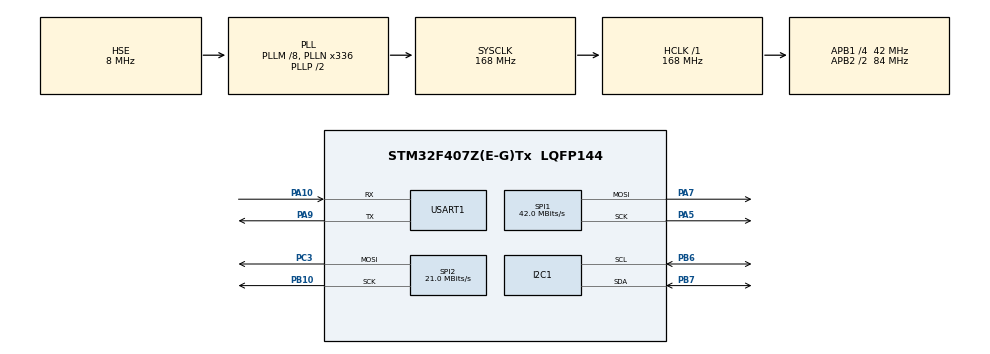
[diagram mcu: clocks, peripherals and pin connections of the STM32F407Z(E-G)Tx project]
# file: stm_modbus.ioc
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Mcu.Family=STM32F4
Mcu.Name=STM32F407Z(E-G)Tx
Mcu.Package=LQFP144
NVIC.PriorityGroup=NVIC_PRIORITYGROUP_4
NVIC.TIM1_UP_TIM10_IRQn=true\:15\:0\:false\:false\:true\:false\:true\:true
NVIC.TimeBase=TIM1_UP_TIM10_IRQn
NVIC.TimeBaseIP=TIM1
PA10.Mode=Asynchronous
PA10.Signal=USART1_RX
PA13.Mode=Serial_Wire
PA13.Signal=SYS_JTMS-SWDIO
PA14.Mode=Serial_Wire
PA14.Signal=SYS_JTCK-SWCLK
PA5.Mode=TX_Only_Simplex_Unidirect_Master
PA5.Signal=SPI1_SCK
PA7.Mode=TX_Only_Simplex_Unidirect_Master
PA7.Signal=SPI1_MOSI
PA9.Mode=Asynchronous
PA9.Signal=USART1_TX
PB10.Mode=TX_Only_Simplex_Unidirect_Master
PB10.Signal=SPI2_SCK
PB6.Mode=I2C
PB6.Signal=I2C1_SCL
PB7.Mode=I2C
PB7.Signal=I2C1_SDA
PC14-OSC32_IN.Mode=LSE-External-Oscillator
PC14-OSC32_IN.Signal=RCC_OSC32_IN
PC15-OSC32_OUT.Mode=LSE-External-Oscillator
PC15-OSC32_OUT.Signal=RCC_OSC32_OUT
PC3.Mode=TX_Only_Simplex_Unidirect_Master
PC3.Signal=SPI2_MOSI
PH0-OSC_IN.Mode=HSE-External-Oscillator
PH0-OSC_IN.Signal=RCC_OSC_IN
PH1-OSC_OUT.Mode=HSE-External-Oscillator
PH1-OSC_OUT.Signal=RCC_OSC_OUT
ProjectManager.HeapSize=0x200
ProjectManager.StackSize=0x400
ProjectManager.TargetToolchain=CMake
RCC.48MHZClocksFreq_Value=84000000
RCC.AHBFreq_Value=168000000
RCC.APB1CLKDivider=RCC_HCLK_DIV4
RCC.APB1Freq_Value=42000000
RCC.APB1TimFreq_Value=84000000
RCC.APB2CLKDivider=RCC_HCLK_DIV2
RCC.APB2Freq_Value=84000000
RCC.APB2TimFreq_Value=168000000
RCC.CortexFreq_Value=168000000
RCC.HCLKFreq_Value=168000000
RCC.HSE_VALUE=8000000
RCC.HSI_VALUE=16000000
RCC.PLLM=8
RCC.PLLN=336
RCC.PLLSourceVirtual=RCC_PLLSOURCE_HSE
RCC.RCC_RTC_Clock_Source=RCC_RTCCLKSOURCE_LSE
RCC.SYSCLKFreq_VALUE=168000000
RCC.SYSCLKSource=RCC_SYSCLKSOURCE_PLLCLK
RCC.VCOOutputFreq_Value=336000000
SPI1.BaudRatePrescaler=SPI_BAUDRATEPRESCALER_2
SPI1.CalculateBaudRate=42.0 MBits/s
SPI1.Direction=SPI_DIRECTION_2LINES
SPI1.Mode=SPI_MODE_MASTER
SPI1.VirtualType=VM_MASTER
SPI2.BaudRatePrescaler=SPI_BAUDRATEPRESCALER_2
SPI2.CalculateBaudRate=21.0 MBits/s
SPI2.Direction=SPI_DIRECTION_2LINES
SPI2.Mode=SPI_MODE_MASTER
SPI2.VirtualType=VM_MASTER
USART1.VirtualMode=VM_ASYNC
VP_RTC_VS_RTC_Activate.Mode=RTC_Enabled
VP_SYS_VS_tim1.Mode=TIM1
VP_WWDG_VS_WWDG.Mode=WWDG_Activate
board=custom

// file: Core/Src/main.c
/* USER CODE BEGIN Header */
/**
  ******************************************************************************
  * @file           : main.c
  * @brief          : Main program body
  ******************************************************************************
  * @attention
  *
  * Copyright (c) 2026 STMicroelectronics.
  * All rights reserved.
  *
  * This software is licensed under terms that can be found in the LICENSE file
  * in the root directory of this software component.
  * If no LICENSE file comes with this software, it is provided AS-IS.
  *
  ******************************************************************************
  */
/* USER CODE END Header */
#include "main.h"
#include "i2c.h"
#include "rtc.h"
#include "spi.h"
#include "usart.h"
#include "wwdg.h"
#include "gpio.h"

/* USER CODE BEGIN Includes */

#include "lvgl.h"
#include "lv_port_disp.h"
#include "ui_env_monitor.h"
#include "modbus_master.h"
#include "esp_link.h"
#include "key.h"
#include "led.h"
#include "lcd_st7789.h"

/* USER CODE END Includes */

/* USER CODE BEGIN PD */

/*
 * WWDG 这一版不能用：CubeMX 生成的是 Prescaler=DIV1 / Window=64 / Counter=64，
 * PCLK1=42MHz 时计数时钟 42e6/4096 = 10.25kHz，
 * 而 Window=64 意味着刷新窗口只有一个计数周期 —— 也就是 ~97us 内必须喂一次狗，
 * 否则立刻复位。所以下面的 MX_WWDG_Init() 被注释掉了（不初始化就不会开 WWDG 时钟，
 * 看门狗处于停用状态）。
 *
 * 想真正用起来的话：在 CubeMX 里把 WWDG 从 stm_modbus.ioc 里删掉，或者重新配成
 * Prescaler=DIV8 + 合理的 Window（约 25ms 刷新的窗口期）再在主循环里 HAL_WWDG_Refresh()。
 */
#define UI_REFRESH_MS   500U    /* 界面读数刷新的间隔 */
#define KEY_DEBOUNCE_MS 20U     /* 按键去抖：两次同电平的间隔 */

/* USER CODE END PD */

/* USER CODE BEGIN PV */

static uint32_t s_ui_tick;
static bool     s_backlight_on  = true;   /* 背光状态（初始亮） */
static uint32_t s_key_tick;               /* 上次采样 PA15 的时刻 */
static bool     s_key_last;               /* 上次采到的电平（KEY_ON=按下） */

/* USER CODE END PV */

void SystemClock_Config(void);

/* USER CODE BEGIN 0 */

/* 把 Modbus 主站收到的温湿度刷到两张大卡片上。
 * 用 lv_snprintf 而不是 libc 的 snprintf：LVGL 自带的格式化不依赖浮点 printf，
 * 而本次只用到 %d，正好避开 nano.specs 下要额外加 -u _printf_float 的麻烦。 */
static void ui_update_from_modbus(void)
{
    char tbuf[16];
    char hbuf[16];

    for (uint8_t i = 0U; i < MB_SENSOR_COUNT; i++)
    {
        const mb_sensor_t *s = Modbus_GetSensor(i);

        if ((s == NULL) || (!s->online))
        {
            ui_env_set_values(i, NULL, NULL);       /* 显示成 "--" */
            continue;
        }

        int t10 = (int)(s->temp * 10.0f + ((s->temp >= 0.0f) ? 0.5f : -0.5f));
        int h10 = (int)(s->humi * 10.0f + 0.5f);

        if (t10 < 0)
        {
            t10 = -t10;
            lv_snprintf(tbuf, sizeof tbuf, "-%d.%d", t10 / 10, t10 % 10);
        }
        else
        {
            lv_snprintf(tbuf, sizeof tbuf, "%d.%d", t10 / 10, t10 % 10);
        }
        lv_snprintf(hbuf, sizeof hbuf, "%d", h10 / 10);

        ui_env_set_values(i, tbuf, hbuf);
    }
}

/*
 * 板上 KEY（PA15，低有效）非阻塞去抖：每 KEY_DEBOUNCE_MS 采一次，连续两次电平一致
 * 才认一次边沿。检测到「按下（下降沿）」就翻转背光。
 * 只关背光，不动 LVGL/Modbus —— 所以关屏后界面照样在后台更新，再按一下立刻能看。
 */
static void screen_key_poll(void)
{
    if ((HAL_GetTick() - s_key_tick) < KEY_DEBOUNCE_MS)
    {
        return;
    }
    s_key_tick = HAL_GetTick();

    const bool pressed = (HAL_GPIO_ReadPin(KEY_PORT, KEY_PIN) == GPIO_PIN_RESET);

    if (pressed && !s_key_last)     /* 下降沿：按下瞬间 */
    {
        s_backlight_on = !s_backlight_on;
        if (s_backlight_on) { LCD_Backlight_ON; }
        else                { LCD_Backlight_OFF; }
    }
    s_key_last = pressed;
}

/* 板载 LED1(PC13，低电平点亮)。
 * 不用 led.h 的 LED1_ON —— 那个宏走的是 F4 上不存在的 BRR 寄存器（厂商库对 F4 的笔误，
 * 因为从没被调用过所以一直没编译暴露），这里直接走 HAL。 */
static void link_led(bool on)
{
    HAL_GPIO_WritePin(LED1_PORT, LED1_PIN, on ? GPIO_PIN_RESET : GPIO_PIN_SET);
}

/*
 * 把 ESP32 经 USART1 发来的链接状态刷到界面。
 * 链路在线时用真实值；超时（EspLink_GetStatus 返回 false）则回落成「未连接 / --」，
 * 免得 ESP32 掉线后界面还一直显示旧数据。
 *
 * 顺便驱动 LED1：亮 = 收到 ESP32 的状态帧，灭 = 超时没收到。
 * 这样万一界面没动，一眼就能分清是「帧没到 STM32」还是「帧到了但界面没刷」。
 */
static void ui_update_from_link(void)
{
    esp_link_status_t st;
    const bool up = EspLink_GetStatus(&st);

    link_led(up);

    if (!up)
    {
        ui_env_set_link(false);
        ui_env_set_rssi(false, 0);
        ui_env_set_device_online(0);     /* ESP 掉线 → 「设备在线」也回落成离线 */
        ui_env_set_ota_ready(false);
        return;
    }

    ui_env_set_link(st.wifi != 0U);
    ui_env_set_rssi(st.wifi != 0U, st.rssi);
    ui_env_set_device_online(st.devices);
    ui_env_set_ota_ready(st.ota_ready != 0U);
}

/* USER CODE END 0 */

int main(void)
{

  /* MCU Configuration--------------------------------------------------------*/

  /* Reset of all peripherals, Initializes the Flash interface and the Systick. */
  HAL_Init();

  /* Configure the system clock */
  SystemClock_Config();

  /* Initialize all configured peripherals */
  MX_GPIO_Init();
  MX_I2C1_Init();
  MX_RTC_Init();
  MX_SPI1_Init();
  MX_SPI2_Init();
  MX_USART1_UART_Init();
  /* MX_WWDG_Init(); */   /* 见 USER CODE BEGIN PD 里的说明：这一版的 WWDG 参数 97us 就会复位，不能开 */
  /* USER CODE BEGIN 2 */

  /* LVGL：先建驱动，再建界面。lv_port_disp_init() 里会 SPI_LCD_Init() 把屏点起来，
   * LVGL 的 tick 直接取 HAL_GetTick()（lv_conf.h 里 LV_TICK_CUSTOM=1），不用喂 lv_tick_inc()。 */
  lv_init();
  lv_port_disp_init();
  ui_env_monitor_create();

  Modbus_Init();          /* 内部会配好 USART2 + DE 引脚并开 RX 中断 */

  /* 板上 KEY(PA15) 关/开背光；LED1(PC13) 当 ESP32 链路指示灯 */
  KEY_Init();
  LED_Init();
  link_led(false);        /* 上电先灭，等第一帧状态再点亮 */
  s_key_last = (HAL_GPIO_ReadPin(KEY_PORT, KEY_PIN) == GPIO_PIN_RESET);
  s_key_tick = HAL_GetTick();
  EspLink_Init();

  ui_update_from_link();  /* 先按「未连接」刷一次，避免上电瞬间显示默认亮灯 */

  s_ui_tick = HAL_GetTick();

  /* USER CODE END 2 */

  /* Infinite loop */
  while (1)
  {

    /* USER CODE BEGIN 3 */
    lv_timer_handler();     /* 渲染 + 刷屏（LCD_Fill 是阻塞的，整屏约几十 ms） */
    Modbus_Poll();          /* 非阻塞状态机，不会卡住上面那个 */
    EspLink_Poll();         /* 非阻塞帧解析，收 ESP32 的状态帧 */
    screen_key_poll();      /* 非阻塞按键去抖，切换背光 */

    if ((HAL_GetTick() - s_ui_tick) >= UI_REFRESH_MS)
    {
      s_ui_tick = HAL_GetTick();
      ui_update_from_modbus();
      ui_update_from_link();
    }

    HAL_Delay(5);
  }
  /* USER CODE END 3 */
}

void SystemClock_Config(void)
{
  RCC_OscInitTypeDef RCC_OscInitStruct = {0};
  RCC_ClkInitTypeDef RCC_ClkInitStruct = {0};

  /** Configure the main internal regulator output voltage
  */
  __HAL_RCC_PWR_CLK_ENABLE();
  __HAL_PWR_VOLTAGESCALING_CONFIG(PWR_REGULATOR_VOLTAGE_SCALE1);

  /** Initializes the RCC Oscillators according to the specified parameters
  * in the RCC_OscInitTypeDef structure.
  */
  RCC_OscInitStruct.OscillatorType = RCC_OSCILLATORTYPE_HSE|RCC_OSCILLATORTYPE_LSE;
  RCC_OscInitStruct.HSEState = RCC_HSE_ON;
  RCC_OscInitStruct.LSEState = RCC_LSE_ON;
  RCC_OscInitStruct.PLL.PLLState = RCC_PLL_ON;
  RCC_OscInitStruct.PLL.PLLSource = RCC_PLLSOURCE_HSE;
  RCC_OscInitStruct.PLL.PLLM = 8;
  RCC_OscInitStruct.PLL.PLLN = 336;
  RCC_OscInitStruct.PLL.PLLP = RCC_PLLP_DIV2;
  RCC_OscInitStruct.PLL.PLLQ = 4;
  if (HAL_RCC_OscConfig(&RCC_OscInitStruct) != HAL_OK)
  {
    Error_Handler();
  }

  /** Initializes the CPU, AHB and APB buses clocks
  */
  RCC_ClkInitStruct.ClockType = RCC_CLOCKTYPE_HCLK|RCC_CLOCKTYPE_SYSCLK
                              |RCC_CLOCKTYPE_PCLK1|RCC_CLOCKTYPE_PCLK2;
  RCC_ClkInitStruct.SYSCLKSource = RCC_SYSCLKSOURCE_PLLCLK;
  RCC_ClkInitStruct.AHBCLKDivider = RCC_SYSCLK_DIV1;
  RCC_ClkInitStruct.APB1CLKDivider = RCC_HCLK_DIV4;
  RCC_ClkInitStruct.APB2CLKDivider = RCC_HCLK_DIV2;

  if (HAL_RCC_ClockConfig(&RCC_ClkInitStruct, FLASH_LATENCY_5) != HAL_OK)
  {
    Error_Handler();
  }
}

void HAL_TIM_PeriodElapsedCallback(TIM_HandleTypeDef *htim)
{
  if (htim->Instance == TIM1)
  {
    HAL_IncTick();
  }
}

void Error_Handler(void)
{
  __disable_irq();
  while (1)
  {
  }
}
